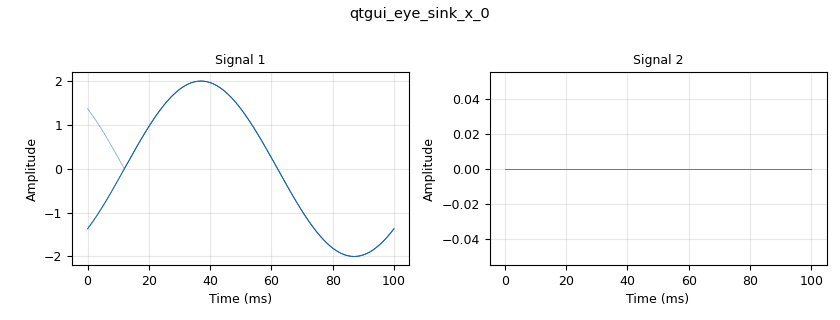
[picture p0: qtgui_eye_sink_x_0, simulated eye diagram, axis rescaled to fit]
options:
  parameters:
    author: Santosh
    copyright: '2022'
    generate_options: qt_gui
    id: Eye_Without_Noise
    output_language: python
    title: Eye_Without_Noise
  states: {}

blocks:
- name: samp_rate
  id: variable
  parameters:
    value: '2000'
  states: {}
- name: analog_sig_source_x_0
  id: analog_sig_source_x
  parameters:
    amp: '2'
    freq: '1'
    offset: '-1'
    phase: '0'
    samp_rate: samp_rate
    type: float
    waveform: analog.GR_SQR_WAVE
  states: {}
- name: analog_sig_source_x_0_0
  id: analog_sig_source_x
  parameters:
    amp: '2'
    freq: '10'
    offset: '0'
    phase: '0'
    samp_rate: samp_rate
    type: float
    waveform: analog.GR_SIN_WAVE
  states: {}
- name: blocks_complex_to_float_0
  id: blocks_complex_to_float
  parameters: {}
  states: {}
- name: blocks_float_to_complex_0
  id: blocks_float_to_complex
  parameters: {}
  states: {}
- name: blocks_multiply_xx_0
  id: blocks_multiply_xx
  parameters:
    type: float
  states: {}
- name: blocks_multiply_xx_0_0
  id: blocks_multiply_xx
  parameters:
    type: float
  states: {}
- name: blocks_threshold_ff_0
  id: blocks_threshold_ff
  parameters:
    high: '1'
    init: '0'
    low: '-1'
  states: {}
- name: blocks_throttle_0
  id: blocks_throttle
  parameters:
    samples_per_second: samp_rate
    type: float
  states: {}
- name: low_pass_filter_0
  id: low_pass_filter
  parameters:
    cutoff_freq: '1000'
    gain: '1'
    interp: '1'
    samp_rate: samp_rate
    type: interp_fir_filter_fff
    width: '1'
    win: window.WIN_HAMMING
  states: {}
- name: qtgui_eye_sink_x_0
  id: qtgui_eye_sink_x
  parameters:
    samp_per_symbol: '100'
    size: '1024'
    srate: samp_rate
    type: complex
  states: {}
- name: qtgui_number_sink_0
  id: qtgui_number_sink
  parameters:
    graph_type: qtgui.NUM_GRAPH_HORIZ
    type: float
  states: {}
- name: virtual_sink_0
  id: virtual_sink
  parameters:
    stream_id: CHANNEL
  states: {}
- name: virtual_source_0
  id: virtual_source
  parameters:
    stream_id: CHANNEL
  states: {}

connections:
- [analog_sig_source_x_0, '0', blocks_throttle_0, '0']
- [analog_sig_source_x_0_0, '0', blocks_multiply_xx_0, '1']
- [analog_sig_source_x_0_0, '0', blocks_multiply_xx_0_0, '0']
- [blocks_complex_to_float_0, '0', blocks_multiply_xx_0_0, '1']
- [blocks_float_to_complex_0, '0', qtgui_eye_sink_x_0, '0']
- [blocks_float_to_complex_0, '0', virtual_sink_0, '0']
- [blocks_multiply_xx_0, '0', blocks_float_to_complex_0, '0']
- [blocks_multiply_xx_0_0, '0', low_pass_filter_0, '0']
- [blocks_threshold_ff_0, '0', qtgui_number_sink_0, '0']
- [blocks_throttle_0, '0', blocks_multiply_xx_0, '0']
- [low_pass_filter_0, '0', blocks_threshold_ff_0, '0']
- [virtual_source_0, '0', blocks_complex_to_float_0, '0']

metadata:
  file_format: 1
  grc_version: 3.10.4.0
